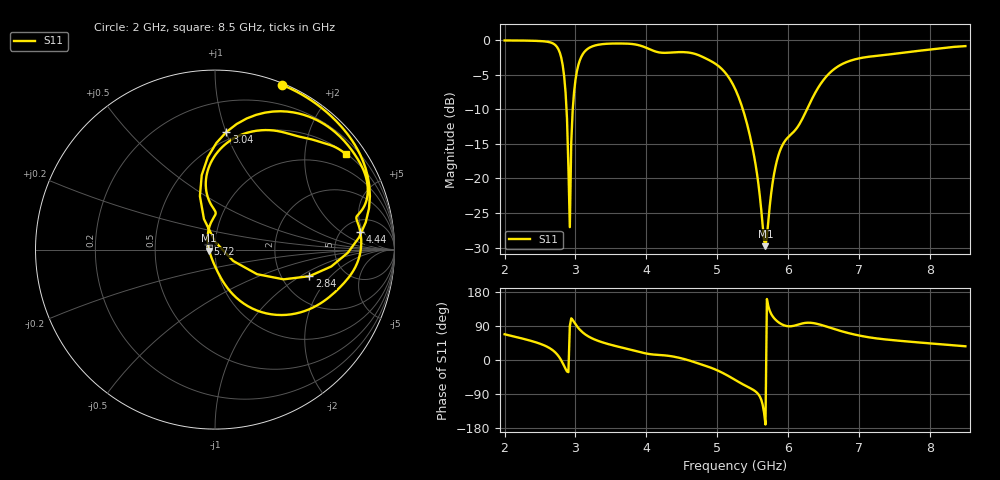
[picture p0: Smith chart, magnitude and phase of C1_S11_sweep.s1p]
! Generated by Hertzon (EMerge FEM)
# HZ S RI R 50
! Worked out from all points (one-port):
!   326 points, 2 GHz to 8.5 GHz, reference 50 ohm
!   lowest |S11| = -29.8 dB at 5.68 GHz (marker M1), VSWR 1.07, Z = 46.9 - j0.517 ohm
!   |S11| at or under -10 dB: 2.873 GHz to 2.961 GHz (88.54 MHz wide, 3.04 % of centre); 5.36 GHz to 6.266 GHz (906.1 MHz wide, 15.6 % of centre)
!   S11 on the Smith chart (normalised r, x): 2 GHz: 0.01, +1.48; 2.84 GHz: 2.84, -1.20; 3.04 GHz: 0.43, +1.00; 4.44 GHz: 7.36, +4.26; 5.72 GHz: 0.92, +0.06; 8.5 GHz: 0.52, +2.98
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2e9  0.3725 0.9181
2.58e9  0.7794 0.5833
2.74e9  0.8579 0.2291
2.82e9  0.6478 -0.0941
2.84e9  0.5257 -0.1483
2.88e9  0.2344 -0.137
2.92e9  0.000209 0.0445
2.94e9  -0.0615 0.1703
2.96e9  -0.0841 0.2978
3.04e9  0.0629 0.655
3.12e9  0.2785 0.7631
3.26e9  0.5214 0.7416
3.64e9  0.7854 0.5195
4.04e9  0.8268 0.2333
4.44e9  0.81 0.0967
4.88e9  0.6804 -0.2256
5.26e9  0.2588 -0.3481
5.5e9  0.034 -0.16
5.58e9  -0.000878 -0.0913
5.68e9  -0.032 -0.00551
5.72e9  -0.0389 0.0304
5.78e9  -0.04 0.0835
5.86e9  -0.0255 0.1432
6.08e9  -0.000936 0.2176
6.42e9  -0.0382 0.4473
6.88e9  0.2468 0.6641
7.7e9  0.5419 0.6131
8.5e9  0.7275 0.5327
